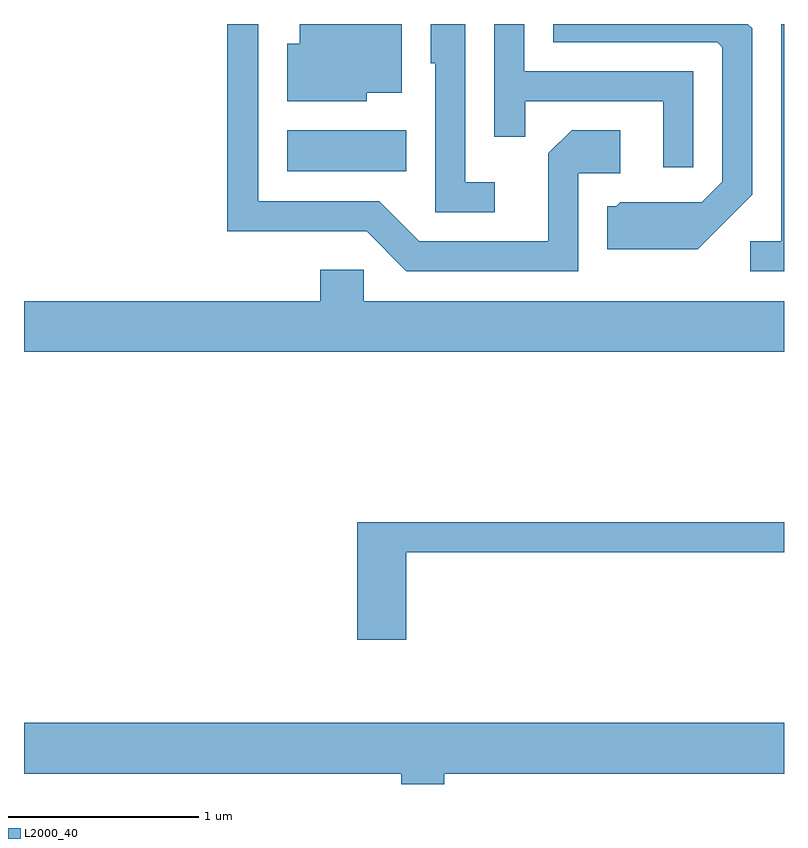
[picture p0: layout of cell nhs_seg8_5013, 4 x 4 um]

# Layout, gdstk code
import gdstk
lib = gdstk.Library(unit=1e-6, precision=1e-09)
def R(c, l, rs):  # rectangles x0, y0, x1, y1
    for r in rs: c.add(gdstk.rectangle(r[:2], r[2:], *l))
def P(c, l, *ps):  # polygons
    for p in ps: c.add(gdstk.Polygon(p, *l))
L2000_40 = (2000, 40)

nhs_seg8_5013 = lib.new_cell('nhs_seg8_5013')
R(nhs_seg8_5013, L2000_40, [(336.996,1859.566,337.624,1859.784)])
P(nhs_seg8_5013, L2000_40, [(339.611,1860.342),(339.596,1860.342),(339.596,1859.199),(339.433,1859.199),(339.433,1859.041),(339.611,1859.041)],
  [(337.414,1859.981),(337.599,1859.981),(337.599,1860.342),(337.061,1860.342),(337.061,1860.239),(336.996,1860.239),(336.996,1859.936),(337.414,1859.936)],
  [(339.134,1860.094),(338.244,1860.094),(338.244,1860.342),(338.086,1860.342),(338.086,1859.748),(338.249,1859.748),(338.249,1859.936),(338.976,1859.936),(338.976,1859.588),(339.134,1859.588)],
  [(338.529,1859.556),(338.749,1859.556),(338.749,1859.784),(338.494,1859.784),(338.371,1859.662),(338.371,1859.199),(337.692,1859.199),(337.482,1859.409),(336.844,1859.409),(336.844,1860.342),(336.681,1860.342),(336.681,1859.251),(337.414,1859.251),(337.624,1859.041),(338.529,1859.041)],
  [(339.444,1859.444),(339.444,1860.319),(339.421,1860.342),(338.396,1860.342),(338.396,1860.246),(339.259,1860.246),(339.286,1860.219),(339.286,1859.512),(339.179,1859.404),(338.749,1859.404),(338.729,1859.384),(338.681,1859.384),(338.681,1859.156),(339.157,1859.156)],
  [(338.088,1859.509),(337.934,1859.509),(337.934,1860.342),(337.751,1860.342),(337.751,1860.136),(337.776,1860.136),(337.776,1859.351),(338.088,1859.351)],
  [(339.611,1858.884),(337.399,1858.884),(337.399,1859.049),(337.171,1859.049),(337.171,1858.884),(335.611,1858.884),(335.611,1858.616),(339.611,1858.616)],
  [(337.624,1857.561),(339.611,1857.561),(339.611,1857.719),(337.366,1857.719),(337.366,1857.101),(337.624,1857.101)],
  [(337.824,1856.396),(339.611,1856.396),(339.611,1856.664),(335.611,1856.664),(335.611,1856.396),(337.596,1856.396),(337.596,1856.342),(337.824,1856.342)])

lib.write_gds('nhs_seg8_5013.gds')
